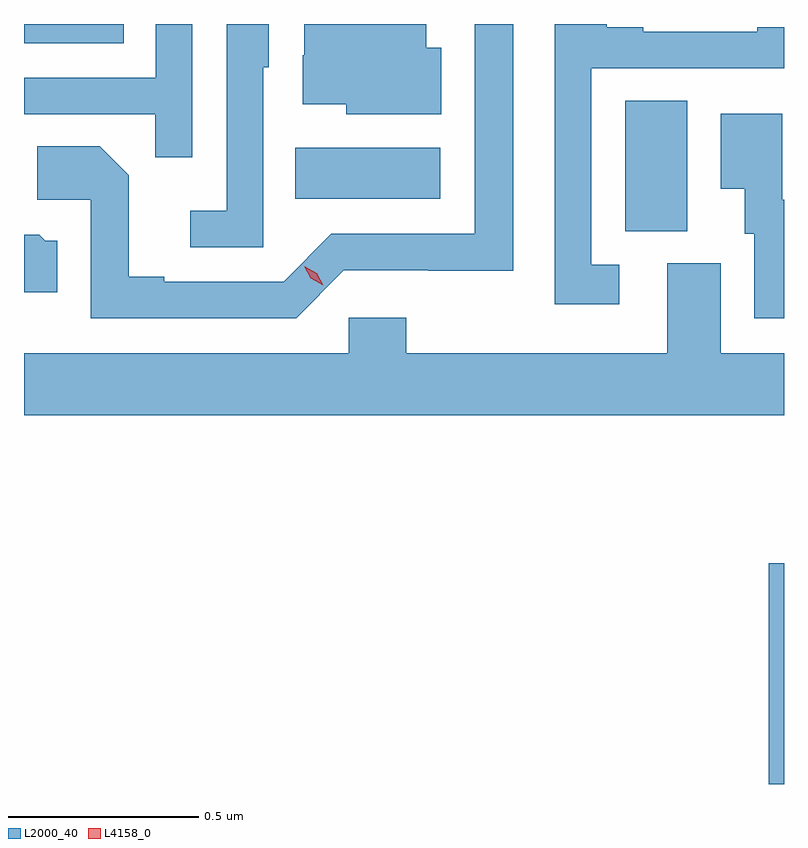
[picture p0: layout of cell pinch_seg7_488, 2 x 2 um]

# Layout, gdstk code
import gdstk
lib = gdstk.Library(unit=1e-6, precision=1e-09)
def R(c, l, rs):  # rectangles x0, y0, x1, y1
    for r in rs: c.add(gdstk.rectangle(r[:2], r[2:], *l))
def P(c, l, *ps):  # polygons
    for p in ps: c.add(gdstk.Polygon(p, *l))
L2000_40 = (2000, 40)
L4158_0 = (4158, 0)

pinch_seg7_488 = lib.new_cell('pinch_seg7_488')
R(pinch_seg7_488, L2000_40, [(218.978,1066.246,219.018,1066.827), (218.6,1067.701,218.764,1068.044), (217.732,1067.786,218.113,1067.92), (217.018,1068.195,217.28,1068.246)])
P(pinch_seg7_488, L2000_40, [(218.584,1067.613),(218.511,1067.613),(218.511,1068.129),(219.018,1068.129),(219.018,1068.238),(218.947,1068.238),(218.947,1068.225),(218.647,1068.225),(218.647,1068.238),(218.551,1068.238),(218.551,1068.246),(218.415,1068.246),(218.415,1067.508),(218.584,1067.508)],
  [(217.86,1067.598),(218.082,1067.598),(218.082,1067.597),(218.305,1067.597),(218.305,1068.246),(218.204,1068.246),(218.204,1067.694),(217.827,1067.694),(217.701,1067.568),(217.387,1067.568),(217.387,1067.581),(217.293,1067.581),(217.293,1067.848),(217.217,1067.924),(217.053,1067.924),(217.053,1067.784),(217.194,1067.784),(217.194,1067.472),(217.734,1067.472)],
  [(217.647,1068.132),(217.662,1068.132),(217.662,1068.246),(217.551,1068.246),(217.551,1067.755),(217.455,1067.755),(217.455,1067.658),(217.647,1067.658)],
  [(217.461,1068.246),(217.365,1068.246),(217.365,1068.105),(217.018,1068.105),(217.018,1068.009),(217.363,1068.009),(217.363,1067.896),(217.461,1067.896)],
  [(218.116,1068.184),(218.077,1068.184),(218.077,1068.246),(217.755,1068.246),(217.755,1068.164),(217.751,1068.164),(217.751,1068.035),(217.866,1068.035),(217.866,1068.008),(218.116,1068.008)],
  [(219.018,1067.784),(219.013,1067.784),(219.013,1068.01),(218.852,1068.01),(218.852,1067.813),(218.915,1067.813),(218.915,1067.694),(218.94,1067.694),(218.94,1067.472),(219.018,1067.472)],
  [(217.105,1067.676),(217.074,1067.676),(217.058,1067.692),(217.018,1067.692),(217.018,1067.54),(217.105,1067.54)],
  [(219.018,1067.38),(218.851,1067.38),(218.851,1067.616),(218.711,1067.616),(218.711,1067.38),(218.024,1067.38),(218.024,1067.473),(217.872,1067.473),(217.872,1067.38),(217.018,1067.38),(217.018,1067.216),(219.018,1067.216)])
P(pinch_seg7_488, L4158_0, [(217.805,1067.558),(217.773,1067.577),(217.756,1067.609),(217.756,1067.609),(217.756,1067.609),(217.788,1067.59),(217.805,1067.558),(217.805,1067.558)])

lib.write_gds('pinch_seg7_488.gds')
